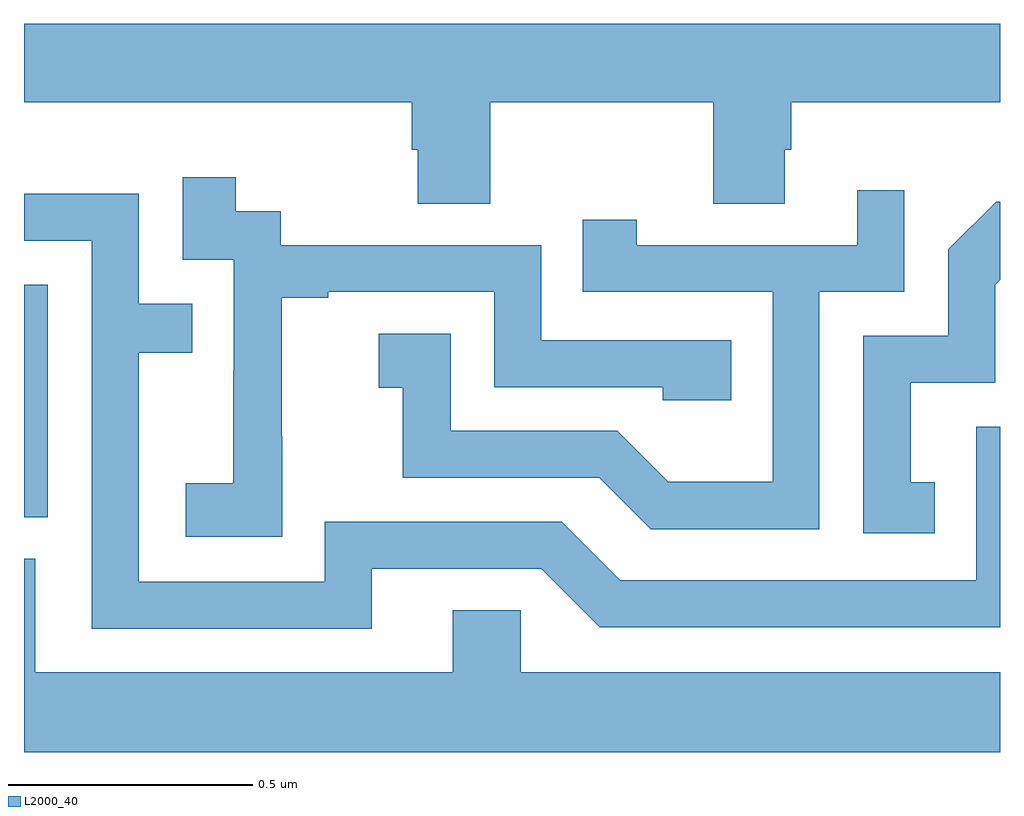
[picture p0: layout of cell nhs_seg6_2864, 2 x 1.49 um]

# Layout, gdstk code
import gdstk
lib = gdstk.Library(unit=1e-6, precision=1e-09)
def R(c, l, rs):  # rectangles x0, y0, x1, y1
    for r in rs: c.add(gdstk.rectangle(r[:2], r[2:], *l))
def P(c, l, *ps):  # polygons
    for p in ps: c.add(gdstk.Polygon(p, *l))
L2000_40 = (2000, 40)

nhs_seg6_2864 = lib.new_cell('nhs_seg6_2864')
R(nhs_seg6_2864, L2000_40, [(149,942.489,149.049,942.966)])
P(nhs_seg6_2864, L2000_40, [(149.955,943.34),(150.412,943.34),(150.412,943.132),(150.559,943.132),(150.559,943.242),(150.572,943.242),(150.572,943.34),(151,943.34),(151,943.5),(149,943.5),(149,943.34),(149.795,943.34),(149.795,943.242),(149.807,943.242),(149.807,943.132),(149.955,943.132)],
  [(149.529,942.655),(149.528,942.655),(149.528,942.939),(149.623,942.939),(149.623,942.951),(149.964,942.951),(149.964,942.756),(150.309,942.756),(150.309,942.729),(150.449,942.729),(150.449,942.852),(150.06,942.852),(150.06,943.047),(149.526,943.047),(149.526,943.116),(149.434,943.116),(149.434,943.186),(149.325,943.186),(149.325,943.017),(149.43,943.017),(149.43,942.788),(149.429,942.788),(149.429,942.559),(149.331,942.559),(149.331,942.449),(149.529,942.449)],
  [(150.63,942.951),(150.804,942.951),(150.804,943.159),(150.707,943.159),(150.707,943.047),(150.256,943.047),(150.256,943.099),(150.145,943.099),(150.145,942.951),(150.534,942.951),(150.534,942.562),(150.32,942.562),(150.216,942.666),(149.874,942.666),(149.874,942.865),(149.727,942.865),(149.727,942.755),(149.776,942.755),(149.776,942.57),(150.179,942.57),(150.284,942.465),(150.63,942.465)],
  [(149.713,942.384),(150.06,942.384),(150.18,942.264),(151,942.264),(151,942.675),(150.951,942.675),(150.951,942.36),(150.222,942.36),(150.102,942.48),(149.616,942.48),(149.616,942.357),(149.235,942.357),(149.235,942.826),(149.345,942.826),(149.345,942.927),(149.235,942.927),(149.235,943.152),(149,943.152),(149,943.056),(149.139,943.056),(149.139,942.261),(149.713,942.261)],
  [(150.866,942.561),(150.817,942.561),(150.817,942.765),(150.99,942.765),(150.99,942.966),(151,942.976),(151,943.136),(150.992,943.136),(150.894,943.038),(150.894,942.861),(150.72,942.861),(150.72,942.456),(150.866,942.456)],
  [(151,942.172),(150.018,942.172),(150.018,942.299),(149.879,942.299),(149.879,942.172),(149.023,942.172),(149.023,942.404),(149,942.404),(149,942.008),(151,942.008)])

lib.write_gds('nhs_seg6_2864.gds')
